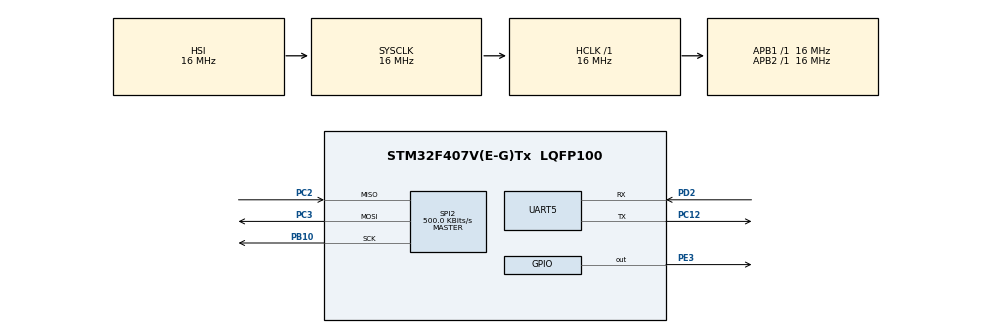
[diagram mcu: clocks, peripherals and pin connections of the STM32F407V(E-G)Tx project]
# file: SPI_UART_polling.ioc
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Mcu.Family=STM32F4
Mcu.Name=STM32F407V(E-G)Tx
Mcu.Package=LQFP100
NVIC.PriorityGroup=NVIC_PRIORITYGROUP_4
PB10.Mode=Full_Duplex_Master
PB10.Signal=SPI2_SCK
PC12.Mode=Asynchronous
PC12.Signal=UART5_TX
PC2.Mode=Full_Duplex_Master
PC2.Signal=SPI2_MISO
PC3.Mode=Full_Duplex_Master
PC3.Signal=SPI2_MOSI
PD2.Mode=Asynchronous
PD2.Signal=UART5_RX
PE3.Signal=GPIO_Output
ProjectManager.HeapSize=0x200
ProjectManager.StackSize=0x400
ProjectManager.TargetToolchain=MDK-ARM V5.32
RCC.AHBFreq_Value=16000000
RCC.APB1Freq_Value=16000000
RCC.APB2Freq_Value=16000000
RCC.CortexFreq_Value=16000000
RCC.HSE_VALUE=25000000
RCC.HSI_VALUE=16000000
RCC.LSE_VALUE=32768
RCC.SYSCLKFreq_VALUE=16000000
RCC.VCOOutputFreq_Value=192000000
SPI2.BaudRatePrescaler=SPI_BAUDRATEPRESCALER_32
SPI2.CLKPhase=SPI_PHASE_2EDGE
SPI2.CLKPolarity=SPI_POLARITY_HIGH
SPI2.CalculateBaudRate=500.0 KBits/s
SPI2.Direction=SPI_DIRECTION_2LINES
SPI2.Mode=SPI_MODE_MASTER
SPI2.VirtualType=VM_MASTER
UART5.VirtualMode=Asynchronous
board=custom

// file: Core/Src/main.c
/* USER CODE BEGIN Header */
/**
  ******************************************************************************
  * @file           : main.c
  * @brief          : Main program body
  ******************************************************************************
  * @attention
  *
  * Copyright (c) 2026 STMicroelectronics.
  * All rights reserved.
  *
  * This software is licensed under terms that can be found in the LICENSE file
  * in the root directory of this software component.
  * If no LICENSE file comes with this software, it is provided AS-IS.
  *
  ******************************************************************************
  */
/* USER CODE END Header */
#include "main.h"

SPI_HandleTypeDef hspi2;

UART_HandleTypeDef huart5;

void SystemClock_Config(void);
static void MX_GPIO_Init(void);
static void MX_SPI2_Init(void);
static void MX_UART5_Init(void);

int main(void)
{

  /* USER CODE BEGIN 1 */

	uint8_t recv_buf, trans_buf;

	uint8_t REG_WHO_AM_I = 0x75;
	uint8_t READ_WHO_AM_I;

	uint8_t REG_PWR_MGMT_1 = 0x6B;
	uint8_t READ_PWR_MGMT_1;

	uint8_t REG_FIFO_EN = 0x23;
	uint8_t READ_FIFO_EN, WRITE_FIFO_EN;

	READ_WHO_AM_I = REG_WHO_AM_I | 0x80;
	READ_PWR_MGMT_1 = REG_PWR_MGMT_1 | 0x80;
	READ_FIFO_EN = REG_FIFO_EN | 0x80;
	WRITE_FIFO_EN = REG_FIFO_EN & 0x7F;

  /* USER CODE END 1 */

  /* MCU Configuration--------------------------------------------------------*/

  /* Reset of all peripherals, Initializes the Flash interface and the Systick. */
  HAL_Init();

  /* Configure the system clock */
  SystemClock_Config();

  /* Initialize all configured peripherals */
  MX_GPIO_Init();
  MX_SPI2_Init();
  MX_UART5_Init();

  /* Infinite loop */
  /* USER CODE BEGIN WHILE */
  while (1)
  {

		/*HAL_GPIO_WritePin(GPIOE, GPIO_PIN_3, GPIO_PIN_RESET);
    HAL_SPI_Transmit(&hspi2, &READ_WHO_AM_I, 1, 10);
    HAL_SPI_Receive(&hspi2, &recv_buf, 1, 10);
    HAL_GPIO_WritePin(GPIOE, GPIO_PIN_3, GPIO_PIN_SET);

		HAL_UART_Transmit(&huart5,&recv_buf,sizeof(recv_buf),10);
		HAL_Delay(1000);

		HAL_GPIO_WritePin(GPIOE, GPIO_PIN_3, GPIO_PIN_RESET);
    HAL_SPI_Transmit(&hspi2, &READ_PWR_MGMT_1, 1, 10);
    HAL_SPI_Receive(&hspi2, &recv_buf, 1, 10);
    HAL_GPIO_WritePin(GPIOE, GPIO_PIN_3, GPIO_PIN_SET);

    HAL_UART_Transmit(&huart5, &recv_buf, sizeof(recv_buf), 10);
    HAL_Delay(1000);*/

		trans_buf=0x99;

		HAL_GPIO_WritePin(GPIOE, GPIO_PIN_3, GPIO_PIN_RESET);
    HAL_SPI_Transmit(&hspi2, &WRITE_FIFO_EN, 1, 10);
    HAL_SPI_Transmit(&hspi2, &trans_buf, 1, 10);
    HAL_GPIO_WritePin(GPIOE, GPIO_PIN_3, GPIO_PIN_SET);

		HAL_GPIO_WritePin(GPIOE, GPIO_PIN_3, GPIO_PIN_RESET);
    HAL_SPI_Transmit(&hspi2, &READ_FIFO_EN, 1, 10);
    HAL_SPI_Receive(&hspi2, &recv_buf, 1, 10);
    HAL_GPIO_WritePin(GPIOE, GPIO_PIN_3, GPIO_PIN_SET);

    HAL_UART_Transmit(&huart5, &recv_buf, sizeof(recv_buf), 10);
    HAL_Delay(1000);

    /* USER CODE END WHILE */

  }
}

void SystemClock_Config(void)
{
  RCC_OscInitTypeDef RCC_OscInitStruct = {0};
  RCC_ClkInitTypeDef RCC_ClkInitStruct = {0};

  /** Configure the main internal regulator output voltage
  */
  __HAL_RCC_PWR_CLK_ENABLE();
  __HAL_PWR_VOLTAGESCALING_CONFIG(PWR_REGULATOR_VOLTAGE_SCALE1);

  /** Initializes the RCC Oscillators according to the specified parameters
  * in the RCC_OscInitTypeDef structure.
  */
  RCC_OscInitStruct.OscillatorType = RCC_OSCILLATORTYPE_HSI;
  RCC_OscInitStruct.HSIState = RCC_HSI_ON;
  RCC_OscInitStruct.HSICalibrationValue = RCC_HSICALIBRATION_DEFAULT;
  RCC_OscInitStruct.PLL.PLLState = RCC_PLL_NONE;
  if (HAL_RCC_OscConfig(&RCC_OscInitStruct) != HAL_OK)
  {
    Error_Handler();
  }

  /** Initializes the CPU, AHB and APB buses clocks
  */
  RCC_ClkInitStruct.ClockType = RCC_CLOCKTYPE_HCLK|RCC_CLOCKTYPE_SYSCLK
                              |RCC_CLOCKTYPE_PCLK1|RCC_CLOCKTYPE_PCLK2;
  RCC_ClkInitStruct.SYSCLKSource = RCC_SYSCLKSOURCE_HSI;
  RCC_ClkInitStruct.AHBCLKDivider = RCC_SYSCLK_DIV1;
  RCC_ClkInitStruct.APB1CLKDivider = RCC_HCLK_DIV1;
  RCC_ClkInitStruct.APB2CLKDivider = RCC_HCLK_DIV1;

  if (HAL_RCC_ClockConfig(&RCC_ClkInitStruct, FLASH_LATENCY_0) != HAL_OK)
  {
    Error_Handler();
  }
}

static void MX_SPI2_Init(void)
{

  /* SPI2 parameter configuration*/
  hspi2.Instance = SPI2;
  hspi2.Init.Mode = SPI_MODE_MASTER;
  hspi2.Init.Direction = SPI_DIRECTION_2LINES;
  hspi2.Init.DataSize = SPI_DATASIZE_8BIT;
  hspi2.Init.CLKPolarity = SPI_POLARITY_HIGH;
  hspi2.Init.CLKPhase = SPI_PHASE_2EDGE;
  hspi2.Init.NSS = SPI_NSS_SOFT;
  hspi2.Init.BaudRatePrescaler = SPI_BAUDRATEPRESCALER_32;
  hspi2.Init.FirstBit = SPI_FIRSTBIT_MSB;
  hspi2.Init.TIMode = SPI_TIMODE_DISABLE;
  hspi2.Init.CRCCalculation = SPI_CRCCALCULATION_DISABLE;
  hspi2.Init.CRCPolynomial = 10;
  if (HAL_SPI_Init(&hspi2) != HAL_OK)
  {
    Error_Handler();
  }

}

static void MX_UART5_Init(void)
{

  huart5.Instance = UART5;
  huart5.Init.BaudRate = 115200;
  huart5.Init.WordLength = UART_WORDLENGTH_8B;
  huart5.Init.StopBits = UART_STOPBITS_1;
  huart5.Init.Parity = UART_PARITY_NONE;
  huart5.Init.Mode = UART_MODE_TX_RX;
  huart5.Init.HwFlowCtl = UART_HWCONTROL_NONE;
  huart5.Init.OverSampling = UART_OVERSAMPLING_16;
  if (HAL_UART_Init(&huart5) != HAL_OK)
  {
    Error_Handler();
  }

}

static void MX_GPIO_Init(void)
{
  GPIO_InitTypeDef GPIO_InitStruct = {0};

  /* GPIO Ports Clock Enable */
  __HAL_RCC_GPIOE_CLK_ENABLE();
  __HAL_RCC_GPIOC_CLK_ENABLE();
  __HAL_RCC_GPIOB_CLK_ENABLE();
  __HAL_RCC_GPIOD_CLK_ENABLE();

  /*Configure GPIO pin Output Level */
  HAL_GPIO_WritePin(GPIOE, GPIO_PIN_3, GPIO_PIN_RESET);

  /*Configure GPIO pin : PE3 */
  GPIO_InitStruct.Pin = GPIO_PIN_3;
  GPIO_InitStruct.Mode = GPIO_MODE_OUTPUT_PP;
  GPIO_InitStruct.Pull = GPIO_NOPULL;
  GPIO_InitStruct.Speed = GPIO_SPEED_FREQ_LOW;
  HAL_GPIO_Init(GPIOE, &GPIO_InitStruct);

}

void Error_Handler(void)
{
  __disable_irq();
  while (1)
  {
  }
}
